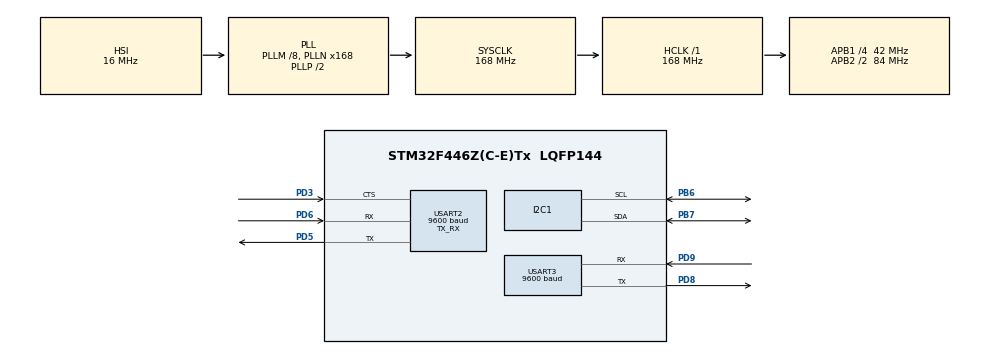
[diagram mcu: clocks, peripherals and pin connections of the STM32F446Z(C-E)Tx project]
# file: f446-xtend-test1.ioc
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Mcu.Family=STM32F4
Mcu.Name=STM32F446Z(C-E)Tx
Mcu.Package=LQFP144
NVIC.PriorityGroup=NVIC_PRIORITYGROUP_4
NVIC.TIM8_TRG_COM_TIM14_IRQn=true\:15\:0\:false\:false\:true\:false\:true
NVIC.TimeBase=TIM8_TRG_COM_TIM14_IRQn
NVIC.TimeBaseIP=TIM14
NVIC.USART2_IRQn=true\:0\:0\:false\:false\:true\:true\:true
PB6.Mode=I2C
PB6.Signal=I2C1_SCL
PB7.Mode=I2C
PB7.Signal=I2C1_SDA
PC10.Signal=UART4_TX
PC11.Signal=UART4_RX
PD3.Mode=CTS_Only
PD3.Signal=USART2_CTS
PD5.Mode=Asynchronous
PD5.Signal=USART2_TX
PD6.Mode=Asynchronous
PD6.Signal=USART2_RX
PD8.Mode=Asynchronous
PD8.Signal=USART3_TX
PD9.Mode=Asynchronous
PD9.Signal=USART3_RX
ProjectManager.HeapSize=0x200
ProjectManager.StackSize=0x400
ProjectManager.TargetToolchain=STM32CubeIDE
RCC.48MHZClocksFreq_Value=24000000
RCC.AHBFreq_Value=168000000
RCC.APB1CLKDivider=RCC_HCLK_DIV4
RCC.APB1Freq_Value=42000000
RCC.APB1TimFreq_Value=84000000
RCC.APB2CLKDivider=RCC_HCLK_DIV2
RCC.APB2Freq_Value=84000000
RCC.APB2TimFreq_Value=168000000
RCC.CortexFreq_Value=168000000
RCC.HCLKFreq_Value=168000000
RCC.HSE_VALUE=8000000
RCC.HSI_VALUE=16000000
RCC.PLLM=8
RCC.PLLMUL=RCC_PLL_MUL9
RCC.PLLN=168
RCC.PLLQ=7
RCC.PRESCALERUSB=RCC_USBCLKSOURCE_PLL_DIV1_5
RCC.SYSCLKFreq_VALUE=168000000
RCC.SYSCLKSource=RCC_SYSCLKSOURCE_PLLCLK
RCC.SYSCLKSourceVirtual=RCC_SYSCLKSOURCE_PLLCLK
RCC.USBFreq_Value=48000000
RCC.VCOOutputFreq_Value=336000000
USART2.BaudRate=9600
USART2.Mode=MODE_TX_RX
USART2.OverSampling=UART_OVERSAMPLING_8
USART2.VirtualMode=VM_ASYNC
USART3.BaudRate=9600
USART3.VirtualMode=VM_ASYNC
VP_SYS_VS_tim14.Mode=TIM14
board=NUCLEO-F446ZE

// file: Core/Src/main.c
/* USER CODE BEGIN Header */
/**
  ******************************************************************************
  * @file           : main.c
  * @brief          : Main program body
  ******************************************************************************
  * @attention
  *
  * <h2><center>&copy; Copyright (c) 2022 STMicroelectronics.
  * All rights reserved.</center></h2>
  *
  * This software component is licensed by ST under Ultimate Liberty license
  * SLA0044, the "License"; You may not use this file except in compliance with
  * the License. You may obtain a copy of the License at:
  *                             www.st.com/SLA0044
  *
  ******************************************************************************
  */
/* USER CODE END Header */
#include "main.h"
#include "cmsis_os.h"

/* USER CODE BEGIN PD */
uint8_t UART2_rxBuffer[64] = {0}; // XTend Reception buffer

/* USER CODE END PD */

I2C_HandleTypeDef hi2c1;

UART_HandleTypeDef huart2;
UART_HandleTypeDef huart3;

/* Definitions for SDCard */
osThreadId_t SDCardHandle;
const osThreadAttr_t SDCard_attributes = {
  .name = "SDCard",
  .stack_size = 128 * 4,
  .priority = (osPriority_t) osPriorityNormal,
};
/* Definitions for XTend */
osThreadId_t XTendHandle;
const osThreadAttr_t XTend_attributes = {
  .name = "XTend",
  .stack_size = 1048 * 4,
  .priority = (osPriority_t) osPriorityHigh,
};
/* USER CODE BEGIN PV */
char UART2_txBuffer[512]; // XTend Transmit

float S;
float ACCx;
float ACCy;
float ACCz;
float PITCH;
float ROLL;
float YAW;
float PRESSURE;
float LAT;
float LONG;
float HOUR;
float MIN;
float SEC;
float STATE;
float E;

/* USER CODE END PV */

void SystemClock_Config(void);
static void MX_GPIO_Init(void);
static void MX_USART2_UART_Init(void);
static void MX_USART3_UART_Init(void);
static void MX_I2C1_Init(void);
void SDCardStart(void *argument);
void XTendStart(void *argument);

/* USER CODE BEGIN PFP */
// XTend transmit function
static void XTend_Transmit(char *Msg);

/* USER CODE END PFP */

int main(void)
{

  /* MCU Configuration--------------------------------------------------------*/

  /* Reset of all peripherals, Initializes the Flash interface and the Systick. */
  HAL_Init();

  /* Configure the system clock */
  SystemClock_Config();

  /* Initialize all configured peripherals */
  MX_GPIO_Init();
  MX_USART2_UART_Init();
  MX_USART3_UART_Init();
  MX_I2C1_Init();
  /* USER CODE BEGIN 2 */

  // XTend Code
  uint8_t Start[] = "Starting XTend\r\n";
  XTend_Transmit(Start); // Transmit to XTend
  HAL_UART_Transmit(&huart3, Start, 16, HAL_MAX_DELAY); // Transmit to Serial Monitor

  // Wait for Launch
  HAL_UART_Receive(&huart2, UART2_rxBuffer, 8, HAL_MAX_DELAY);
  // Code Continues after receiving 8 characters

  /* USER CODE END 2 */

  /* Init scheduler */
  osKernelInitialize();

  /* Create the thread(s) */
  /* creation of SDCard */
  SDCardHandle = osThreadNew(SDCardStart, NULL, &SDCard_attributes);

  /* creation of XTend */
  XTendHandle = osThreadNew(XTendStart, NULL, &XTend_attributes);

  /* Start scheduler */
  osKernelStart();

  /* We should never get here as control is now taken by the scheduler */
  /* Infinite loop */
  while (1)
  {

  }
}

void SystemClock_Config(void)
{
  RCC_OscInitTypeDef RCC_OscInitStruct = {0};
  RCC_ClkInitTypeDef RCC_ClkInitStruct = {0};

  /** Configure the main internal regulator output voltage
  */
  __HAL_RCC_PWR_CLK_ENABLE();
  __HAL_PWR_VOLTAGESCALING_CONFIG(PWR_REGULATOR_VOLTAGE_SCALE1);
  /** Initializes the RCC Oscillators according to the specified parameters
  * in the RCC_OscInitTypeDef structure.
  */
  RCC_OscInitStruct.OscillatorType = RCC_OSCILLATORTYPE_HSI;
  RCC_OscInitStruct.HSIState = RCC_HSI_ON;
  RCC_OscInitStruct.HSICalibrationValue = RCC_HSICALIBRATION_DEFAULT;
  RCC_OscInitStruct.PLL.PLLState = RCC_PLL_ON;
  RCC_OscInitStruct.PLL.PLLSource = RCC_PLLSOURCE_HSI;
  RCC_OscInitStruct.PLL.PLLM = 8;
  RCC_OscInitStruct.PLL.PLLN = 168;
  RCC_OscInitStruct.PLL.PLLP = RCC_PLLP_DIV2;
  RCC_OscInitStruct.PLL.PLLQ = 7;
  RCC_OscInitStruct.PLL.PLLR = 2;
  if (HAL_RCC_OscConfig(&RCC_OscInitStruct) != HAL_OK)
  {
    Error_Handler();
  }
  /** Initializes the CPU, AHB and APB buses clocks
  */
  RCC_ClkInitStruct.ClockType = RCC_CLOCKTYPE_HCLK|RCC_CLOCKTYPE_SYSCLK
                              |RCC_CLOCKTYPE_PCLK1|RCC_CLOCKTYPE_PCLK2;
  RCC_ClkInitStruct.SYSCLKSource = RCC_SYSCLKSOURCE_PLLCLK;
  RCC_ClkInitStruct.AHBCLKDivider = RCC_SYSCLK_DIV1;
  RCC_ClkInitStruct.APB1CLKDivider = RCC_HCLK_DIV4;
  RCC_ClkInitStruct.APB2CLKDivider = RCC_HCLK_DIV2;

  if (HAL_RCC_ClockConfig(&RCC_ClkInitStruct, FLASH_LATENCY_5) != HAL_OK)
  {
    Error_Handler();
  }
}

static void MX_I2C1_Init(void)
{

  hi2c1.Instance = I2C1;
  hi2c1.Init.ClockSpeed = 100000;
  hi2c1.Init.DutyCycle = I2C_DUTYCYCLE_2;
  hi2c1.Init.OwnAddress1 = 0;
  hi2c1.Init.AddressingMode = I2C_ADDRESSINGMODE_7BIT;
  hi2c1.Init.DualAddressMode = I2C_DUALADDRESS_DISABLE;
  hi2c1.Init.OwnAddress2 = 0;
  hi2c1.Init.GeneralCallMode = I2C_GENERALCALL_DISABLE;
  hi2c1.Init.NoStretchMode = I2C_NOSTRETCH_DISABLE;
  if (HAL_I2C_Init(&hi2c1) != HAL_OK)
  {
    Error_Handler();
  }

}

static void MX_USART2_UART_Init(void)
{

  huart2.Instance = USART2;
  huart2.Init.BaudRate = 9600;
  huart2.Init.WordLength = UART_WORDLENGTH_8B;
  huart2.Init.StopBits = UART_STOPBITS_1;
  huart2.Init.Parity = UART_PARITY_NONE;
  huart2.Init.Mode = UART_MODE_TX_RX;
  huart2.Init.HwFlowCtl = UART_HWCONTROL_CTS;
  huart2.Init.OverSampling = UART_OVERSAMPLING_16;
  if (HAL_UART_Init(&huart2) != HAL_OK)
  {
    Error_Handler();
  }

}

static void MX_USART3_UART_Init(void)
{

  huart3.Instance = USART3;
  huart3.Init.BaudRate = 9600;
  huart3.Init.WordLength = UART_WORDLENGTH_8B;
  huart3.Init.StopBits = UART_STOPBITS_1;
  huart3.Init.Parity = UART_PARITY_NONE;
  huart3.Init.Mode = UART_MODE_TX_RX;
  huart3.Init.HwFlowCtl = UART_HWCONTROL_NONE;
  huart3.Init.OverSampling = UART_OVERSAMPLING_16;
  if (HAL_UART_Init(&huart3) != HAL_OK)
  {
    Error_Handler();
  }

}

static void MX_GPIO_Init(void)
{

  /* GPIO Ports Clock Enable */
  __HAL_RCC_GPIOD_CLK_ENABLE();
  __HAL_RCC_GPIOA_CLK_ENABLE();
  __HAL_RCC_GPIOB_CLK_ENABLE();

}

/* USER CODE BEGIN 4 */
/**
 * @brief   Function to transmit message to XTend
 * @param  Msg : char array (range 1-800)
 */
static void XTend_Transmit(char *Msg){
	HAL_UART_Transmit(&huart2, Msg, strlen(Msg), HAL_Delay);
}
/* USER CODE END 4 */

void SDCardStart(void *argument)
{
  for(;;)
  {
    osDelay(1);
  }
}

void XTendStart(void *argument)
{
  /* USER CODE BEGIN XTendStart */
  /* Infinite loop */
  for(;;)
  {
	  S = 0.22;
	  ACCx = 0.22;
	  ACCy = 0.22;
	  ACCz = 0.22;
	  PITCH = 0.22;
	  ROLL = 0.22;
	  YAW = 0.22;
	  PRESSURE = 0.22;
	  LAT = 0.22;
	  LONG = 0.22;
	  HOUR = 0.22;
	  MIN = 0.22;
	  SEC = 0.22;
	  STATE = 0.22;
	  E = 0.22;

	  memset (UART2_txBuffer,0,512);
	  sprintf(UART2_txBuffer,
			  "S: %.2f\r\nACCx:%.2f \r\nACCy: %.2f\r\nACCz: %.2f\r\nPITCH: %.2f\r\nROLL: %.2f\r\nYAW: %.2f\r\nPRESSURE: %.2f\r\nLAT: %.2f\r\nLONG: %.2f\r\nHOUR: %.2f\r\nMIN: %.2f\r\nSEC: %.2f\r\nSTATE: %.2f\r\nE: %.2f\r\n",
			  S,ACCx,ACCy,ACCz,PITCH,ROLL,YAW,PRESSURE,LAT,LONG,HOUR,MIN,SEC,STATE,E);
	  XTend_Transmit((uint8_t*) UART2_txBuffer);
    osDelay(1000);
  }
  /* USER CODE END XTendStart */
}

void HAL_TIM_PeriodElapsedCallback(TIM_HandleTypeDef *htim)
{
  if (htim->Instance == TIM14) {
    HAL_IncTick();
  }
}

void Error_Handler(void)
{
  __disable_irq();
  while (1)
  {
  }
}

/************************ (C) COPYRIGHT STMicroelectronics *****END OF FILE****/
